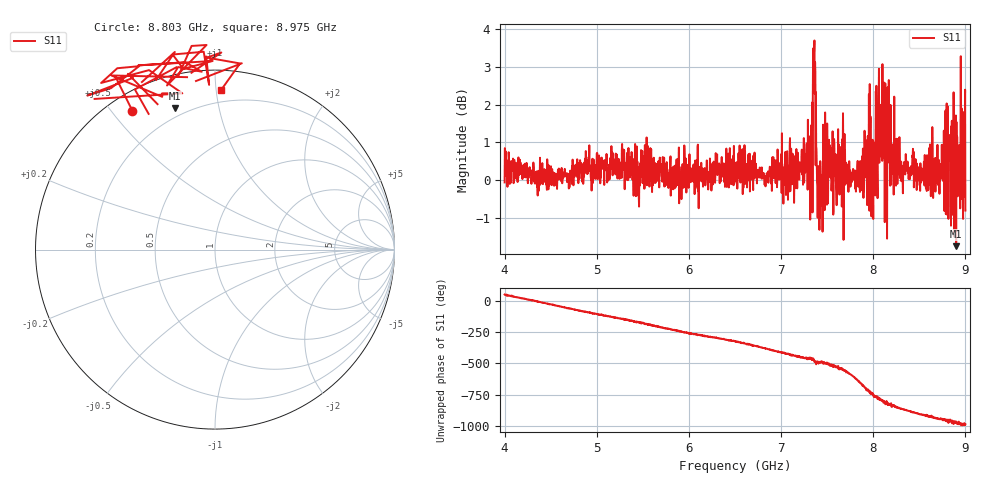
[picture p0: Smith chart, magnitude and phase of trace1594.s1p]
! Created with skrf 1.8.0 (http://scikit-rf.org).
# Hz S RI R 50.0
!freq ReS11 ImS11
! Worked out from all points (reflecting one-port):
!   1601 points, 4 GHz to 9 GHz, reference 50 ohm
!   lowest |S11| = -1.7 dB at 8.9 GHz (marker M1), VSWR 10.03, Z = 7.8 + j37.3 ohm
!   phase of S11 starts at 53 deg and turns -1042 deg over the sweep
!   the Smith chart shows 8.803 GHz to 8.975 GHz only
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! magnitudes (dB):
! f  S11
! 4 GHz  -0.1
! 4.625 GHz  -0.1
! 5.25 GHz  0.1
! 5.875 GHz  0.2
! 6.5 GHz  0.0
! 7.125 GHz  0.7
! 7.316 GHz  -1.0
! 7.347 GHz  3.2
! 7.359 GHz  3.4
! 7.369 GHz  3.1
! 7.397 GHz  -1.0
! 7.412 GHz  -0.6
! 7.512 GHz  0.2
! 7.591 GHz  0.7
! 7.65 GHz  0.8
! 7.75 GHz  0.3
! 7.878 GHz  0.5
! 7.947 GHz  0.8
! 8 GHz  -1.0
! 8.05 GHz  1.3
! 8.097 GHz  0.5
! 8.216 GHz  0.6
! 8.375 GHz  0.4
! 8.7 GHz  0.2
! 8.816 GHz  -1.0
! 8.9 GHz  -1.7
! 8.972 GHz  0.4
! 9 GHz  -0.8
